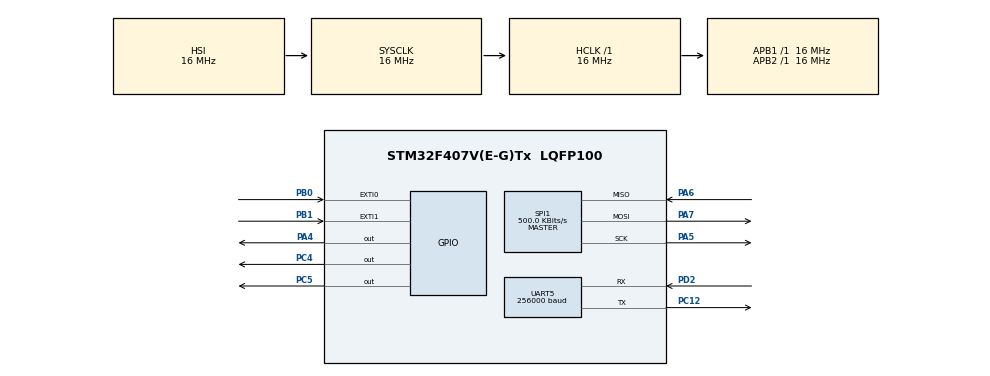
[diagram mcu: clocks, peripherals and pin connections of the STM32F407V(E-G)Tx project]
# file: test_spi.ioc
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FREERTOS.Tasks01=defaultTask,0,1024,StartDefaultTask,Default,NULL,Dynamic,NULL,NULL
FREERTOS.configCHECK_FOR_STACK_OVERFLOW=2
FREERTOS.configMINIMAL_STACK_SIZE=256
FREERTOS.configTOTAL_HEAP_SIZE=122880
FREERTOS.configUSE_MALLOC_FAILED_HOOK=1
Mcu.Family=STM32F4
Mcu.Name=STM32F407V(E-G)Tx
Mcu.Package=LQFP100
NVIC.EXTI0_IRQn=true\:6\:0\:true\:false\:true\:true\:true\:true\:true
NVIC.EXTI1_IRQn=true\:6\:0\:true\:false\:true\:true\:true\:true\:true
NVIC.PriorityGroup=NVIC_PRIORITYGROUP_4
NVIC.TIM1_UP_TIM10_IRQn=true\:15\:0\:false\:false\:true\:false\:false\:true\:true
NVIC.TimeBase=TIM1_UP_TIM10_IRQn
NVIC.TimeBaseIP=TIM1
PA13.Mode=Serial_Wire
PA13.Signal=SYS_JTMS-SWDIO
PA14.Mode=Serial_Wire
PA14.Signal=SYS_JTCK-SWCLK
PA4.Signal=GPIO_Output
PA5.Mode=Full_Duplex_Master
PA5.Signal=SPI1_SCK
PA6.Mode=Full_Duplex_Master
PA6.Signal=SPI1_MISO
PA7.Mode=Full_Duplex_Master
PA7.Signal=SPI1_MOSI
PB0.GPIO_PuPd=GPIO_PULLDOWN
PB0.Signal=GPXTI0
PB1.GPIO_PuPd=GPIO_PULLDOWN
PB1.Signal=GPXTI1
PC12.Mode=Asynchronous
PC12.Signal=UART5_TX
PC4.Signal=GPIO_Output
PC5.Signal=GPIO_Output
PD2.Mode=Asynchronous
PD2.Signal=UART5_RX
PH0-OSC_IN.Mode=HSE-External-Oscillator
PH0-OSC_IN.Signal=RCC_OSC_IN
PH1-OSC_OUT.Mode=HSE-External-Oscillator
PH1-OSC_OUT.Signal=RCC_OSC_OUT
ProjectManager.HeapSize=0x800
ProjectManager.StackSize=0x800
ProjectManager.TargetToolchain=Makefile
RCC.AHBFreq_Value=16000000
RCC.APB1Freq_Value=16000000
RCC.APB2Freq_Value=16000000
RCC.CortexFreq_Value=16000000
RCC.HSE_VALUE=25000000
RCC.HSI_VALUE=16000000
RCC.LSE_VALUE=32768
RCC.SYSCLKFreq_VALUE=16000000
RCC.VCOOutputFreq_Value=192000000
SPI1.BaudRatePrescaler=SPI_BAUDRATEPRESCALER_32
SPI1.CLKPhase=SPI_PHASE_2EDGE
SPI1.CLKPolarity=SPI_POLARITY_HIGH
SPI1.CalculateBaudRate=500.0 KBits/s
SPI1.Direction=SPI_DIRECTION_2LINES
SPI1.Mode=SPI_MODE_MASTER
SPI1.VirtualType=VM_MASTER
UART5.BaudRate=256000
UART5.VirtualMode=Asynchronous
VP_FREERTOS_VS_CMSIS_V1.Mode=CMSIS_V1
VP_SYS_VS_tim1.Mode=TIM1
board=custom

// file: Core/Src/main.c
/* USER CODE BEGIN Header */
/**
  ******************************************************************************
  * @file           : main.c
  * @brief          : Main program body
  ******************************************************************************
  * @attention
  *
  * Copyright (c) 2026 STMicroelectronics.
  * All rights reserved.
  *
  * This software is licensed under terms that can be found in the LICENSE file
  * in the root directory of this software component.
  * If no LICENSE file comes with this software, it is provided AS-IS.
  *
  ******************************************************************************
  */
/* USER CODE END Header */
#include "main.h"
#include "cmsis_os.h"
#include "spi.h"
#include "usart.h"
#include "gpio.h"

/* USER CODE BEGIN Includes */
#include <stdio.h>
#include <string.h>
/* USER CODE END Includes */

/* USER CODE BEGIN PV */
uint8_t tx_buf[] = "Hello ESP32";
uint8_t rx_buf[16] = {0};
/* USER CODE END PV */

void SystemClock_Config(void);
void MX_FREERTOS_Init(void);

/* USER CODE BEGIN 0 */
// void SPI_CS_Low(void)  { HAL_GPIO_WritePin(GPIOA, GPIO_PIN_4, GPIO_PIN_RESET); }
// void SPI_CS_High(void) { HAL_GPIO_WritePin(GPIOA, GPIO_PIN_4, GPIO_PIN_SET); }

// void SPI_SendReceive(void)
// {
//     SPI_CS_Low();
//     HAL_SPI_TransmitReceive(&hspi1, tx_buf, rx_buf, sizeof(tx_buf), HAL_MAX_DELAY);
//     SPI_CS_High();
// }

// void UART_Log(const char *msg)
// {
//     HAL_UART_Transmit(&huart5, (uint8_t*)msg, strlen(msg), HAL_MAX_DELAY);
// }

// void HAL_GPIO_EXTI_Callback(uint16_t GPIO_Pin)
// {
//     if (GPIO_Pin == GPIO_PIN_1) {
//         UART_Log("EXTI PB1 triggered\r\n");
//     } else if (GPIO_Pin == GPIO_PIN_0) {
//         UART_Log("EXTI PB0 triggered\r\n");
//     }
// }
/* USER CODE END 0 */

int main(void)
{

  /* MCU Configuration--------------------------------------------------------*/

  /* Reset of all peripherals, Initializes the Flash interface and the Systick. */
  HAL_Init();

  /* Configure the system clock */
  SystemClock_Config();

  /* Initialize all configured peripherals */
  MX_GPIO_Init();
  MX_SPI1_Init();
  MX_UART5_Init();
  /* USER CODE BEGIN 2 */
  // HAL_Delay(1000);
  // SPI_CS_High();

  /* USER CODE END 2 */

  /* Call init function for freertos objects (in cmsis_os2.c) */
  MX_FREERTOS_Init();

  /* Start scheduler */
  osKernelStart();

  /* We should never get here as control is now taken by the scheduler */

  /* Infinite loop */
  while (1)
  {

    /* USER CODE BEGIN 3 */
    // SPI_SendReceive();
    // UART_Log("STM32 sent: Hello ESP32\r\n");

    // if (strncmp((char*)rx_buf, "Hello", 5) == 0) {
    //     UART_Log("STM32 received: ");
    //     UART_Log((char*)rx_buf);
    //     UART_Log("\r\n");
    // }

    // HAL_Delay(1000);
  }
  /* USER CODE END 3 */
}

void SystemClock_Config(void)
{
  RCC_OscInitTypeDef RCC_OscInitStruct = {0};
  RCC_ClkInitTypeDef RCC_ClkInitStruct = {0};

  /** Configure the main internal regulator output voltage
  */
  __HAL_RCC_PWR_CLK_ENABLE();
  __HAL_PWR_VOLTAGESCALING_CONFIG(PWR_REGULATOR_VOLTAGE_SCALE1);

  /** Initializes the RCC Oscillators according to the specified parameters
  * in the RCC_OscInitTypeDef structure.
  */
  RCC_OscInitStruct.OscillatorType = RCC_OSCILLATORTYPE_HSI;
  RCC_OscInitStruct.HSIState = RCC_HSI_ON;
  RCC_OscInitStruct.HSICalibrationValue = RCC_HSICALIBRATION_DEFAULT;
  RCC_OscInitStruct.PLL.PLLState = RCC_PLL_NONE;
  if (HAL_RCC_OscConfig(&RCC_OscInitStruct) != HAL_OK)
  {
    Error_Handler();
  }

  /** Initializes the CPU, AHB and APB buses clocks
  */
  RCC_ClkInitStruct.ClockType = RCC_CLOCKTYPE_HCLK|RCC_CLOCKTYPE_SYSCLK
                              |RCC_CLOCKTYPE_PCLK1|RCC_CLOCKTYPE_PCLK2;
  RCC_ClkInitStruct.SYSCLKSource = RCC_SYSCLKSOURCE_HSI;
  RCC_ClkInitStruct.AHBCLKDivider = RCC_SYSCLK_DIV1;
  RCC_ClkInitStruct.APB1CLKDivider = RCC_HCLK_DIV1;
  RCC_ClkInitStruct.APB2CLKDivider = RCC_HCLK_DIV1;

  if (HAL_RCC_ClockConfig(&RCC_ClkInitStruct, FLASH_LATENCY_0) != HAL_OK)
  {
    Error_Handler();
  }
}

void HAL_TIM_PeriodElapsedCallback(TIM_HandleTypeDef *htim)
{
  if (htim->Instance == TIM1)
  {
    HAL_IncTick();
  }
}

void Error_Handler(void)
{
  __disable_irq();
  while (1)
  {
  }
}

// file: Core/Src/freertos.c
/* USER CODE BEGIN Header */
/* USER CODE END Header */

#include "FreeRTOS.h"
#include "task.h"
#include "main.h"
#include "cmsis_os.h"

/* USER CODE BEGIN Includes */
#include "string.h"
#include "app.h"
#include "usart.h"
/* USER CODE END Includes */

osThreadId defaultTaskHandle;

void StartDefaultTask(void const * argument);

void MX_FREERTOS_Init(void); /* (MISRA C 2004 rule 8.1) */

/* GetIdleTaskMemory prototype (linked to static allocation support) */
void vApplicationGetIdleTaskMemory( StaticTask_t **ppxIdleTaskTCBBuffer, StackType_t **ppxIdleTaskStackBuffer, uint32_t *pulIdleTaskStackSize );

/* Hook prototypes */
void vApplicationStackOverflowHook(xTaskHandle xTask, signed char *pcTaskName);
void vApplicationMallocFailedHook(void);

/* USER CODE BEGIN 4 */
void vApplicationStackOverflowHook(xTaskHandle xTask, signed char *pcTaskName)
{
   /* Run time stack overflow checking is performed if
   configCHECK_FOR_STACK_OVERFLOW is defined to 1 or 2. This hook function is
   called if a stack overflow is detected. */
  HAL_UART_Transmit(&huart5, (uint8_t *)"STACK OVERFLOW: ", 16, HAL_MAX_DELAY);
  HAL_UART_Transmit(&huart5, (uint8_t *)pcTaskName, strlen((char*)pcTaskName), HAL_MAX_DELAY);
  HAL_UART_Transmit(&huart5, (uint8_t *)"\r\n", 2, HAL_MAX_DELAY);
  while(1);
}
/* USER CODE END 4 */

/* USER CODE BEGIN 5 */
void vApplicationMallocFailedHook(void)
{
   /* vApplicationMallocFailedHook() will only be called if
   configUSE_MALLOC_FAILED_HOOK is set to 1 in FreeRTOSConfig.h. It is a hook
   function that will get called if a call to pvPortMalloc() fails.
   pvPortMalloc() is called internally by the kernel whenever a task, queue,
   timer or semaphore is created. It is also called by various parts of the
   demo application. If heap_1.c or heap_2.c are used, then the size of the
   heap available to pvPortMalloc() is defined by configTOTAL_HEAP_SIZE in
   FreeRTOSConfig.h, and the xPortGetFreeHeapSize() API function can be used
   to query the size of free heap space that remains (although it does not
   provide information on how the remaining heap might be fragmented). */
  HAL_UART_Transmit(&huart5, (uint8_t *)"MALLOC FAILED\r\n", 15, HAL_MAX_DELAY);
  while(1);
}
/* USER CODE END 5 */

/* USER CODE BEGIN GET_IDLE_TASK_MEMORY */
static StaticTask_t xIdleTaskTCBBuffer;
static StackType_t xIdleStack[configMINIMAL_STACK_SIZE];

void vApplicationGetIdleTaskMemory( StaticTask_t **ppxIdleTaskTCBBuffer, StackType_t **ppxIdleTaskStackBuffer, uint32_t *pulIdleTaskStackSize )
{
  *ppxIdleTaskTCBBuffer = &xIdleTaskTCBBuffer;
  *ppxIdleTaskStackBuffer = &xIdleStack[0];
  *pulIdleTaskStackSize = configMINIMAL_STACK_SIZE;
  /* place for user code */
}
/* USER CODE END GET_IDLE_TASK_MEMORY */

void MX_FREERTOS_Init(void) {

  /* Create the thread(s) */
  /* definition and creation of defaultTask */
  osThreadDef(defaultTask, StartDefaultTask, osPriorityNormal, 0, 1024);
  defaultTaskHandle = osThreadCreate(osThread(defaultTask), NULL);

}

void StartDefaultTask(void const * argument)
{
  /* USER CODE BEGIN StartDefaultTask */
  HAL_UART_Transmit(&huart5, (uint8_t *)"Hello from STM32!\r\n", 22, HAL_MAX_DELAY);
  app_main();
  /* Infinite loop */
  for(;;)
  {
    osDelay(1);
  }
  /* USER CODE END StartDefaultTask */
}
